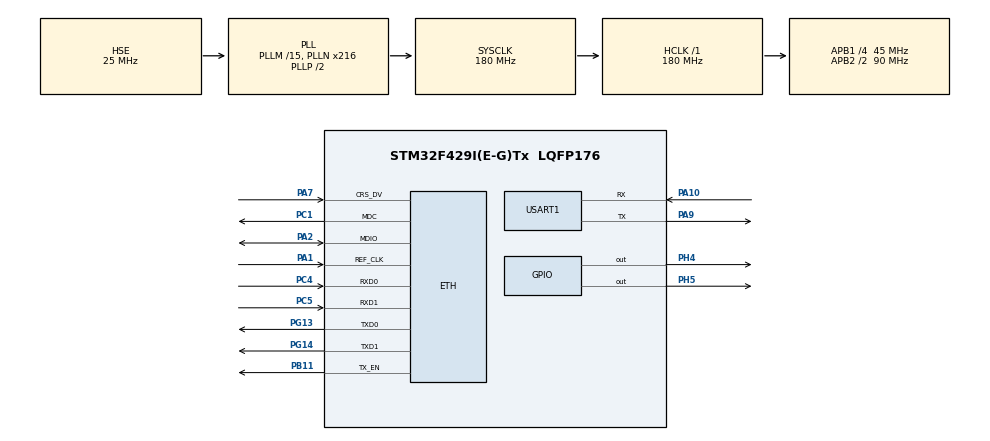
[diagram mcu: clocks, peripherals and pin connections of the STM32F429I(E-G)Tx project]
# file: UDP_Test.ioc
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ETH.MediaInterface=HAL_ETH_RMII_MODE
LWIP.BSP.number=1
LWIP.GATEWAY_ADDRESS=192.168.137.001
LWIP.IP_ADDRESS=192.168.137.100
LWIP.LWIP_DHCP=0
LWIP.LWIP_UDP=1
LWIP.NETMASK_ADDRESS=255.255.255.000
LWIP.Version=v2.1.2_Cube
LWIP0.BSP.STBoard=false
LWIP0.BSP.api=BSP_COMPONENT_DRIVER
LWIP0.BSP.component=LAN8742
LWIP0.BSP.instance=LAN8742
LWIP0.BSP.name=Driver_PHY
LWIP0.BSP.semaphore=S_LAN8742
LWIP0.BSP.solution=LAN8742
Mcu.Family=STM32F4
Mcu.Name=STM32F429I(E-G)Tx
Mcu.Package=LQFP176
NVIC.PriorityGroup=NVIC_PRIORITYGROUP_4
PA1.Mode=RMII
PA1.Signal=ETH_REF_CLK
PA10.Mode=Asynchronous
PA10.Signal=USART1_RX
PA13.Mode=Serial_Wire
PA13.Signal=SYS_JTMS-SWDIO
PA14.Mode=Serial_Wire
PA14.Signal=SYS_JTCK-SWCLK
PA2.Mode=RMII
PA2.Signal=ETH_MDIO
PA7.Mode=RMII
PA7.Signal=ETH_CRS_DV
PA9.Mode=Asynchronous
PA9.Signal=USART1_TX
PB11.Mode=RMII
PB11.Signal=ETH_TX_EN
PC1.Mode=RMII
PC1.Signal=ETH_MDC
PC4.Mode=RMII
PC4.Signal=ETH_RXD0
PC5.Mode=RMII
PC5.Signal=ETH_RXD1
PG13.Mode=RMII
PG13.Signal=ETH_TXD0
PG14.Mode=RMII
PG14.Signal=ETH_TXD1
PH0/OSC_IN.Mode=HSE-External-Oscillator
PH0/OSC_IN.Signal=RCC_OSC_IN
PH1/OSC_OUT.Mode=HSE-External-Oscillator
PH1/OSC_OUT.Signal=RCC_OSC_OUT
PH4.GPIO_ModeDefaultOutputPP=GPIO_MODE_OUTPUT_OD
PH4.GPIO_PuPd=GPIO_NOPULL
PH4.Signal=GPIO_Output
PH5.GPIO_ModeDefaultOutputPP=GPIO_MODE_OUTPUT_OD
PH5.GPIO_PuPd=GPIO_NOPULL
PH5.Signal=GPIO_Output
ProjectManager.HeapSize=0x200
ProjectManager.StackSize=0x2000
ProjectManager.TargetToolchain=Makefile
RCC.48MHZClocksFreq_Value=90000000
RCC.AHBFreq_Value=180000000
RCC.APB1CLKDivider=RCC_HCLK_DIV4
RCC.APB1Freq_Value=45000000
RCC.APB1TimFreq_Value=90000000
RCC.APB2CLKDivider=RCC_HCLK_DIV2
RCC.APB2Freq_Value=90000000
RCC.APB2TimFreq_Value=180000000
RCC.CortexFreq_Value=180000000
RCC.HCLKFreq_Value=180000000
RCC.HSE_VALUE=25000000
RCC.HSI_VALUE=16000000
RCC.LSE_VALUE=32768
RCC.PLLM=15
RCC.PLLN=216
RCC.PLLSourceVirtual=RCC_PLLSOURCE_HSE
RCC.SYSCLKFreq_VALUE=180000000
RCC.SYSCLKSource=RCC_SYSCLKSOURCE_PLLCLK
RCC.VCOOutputFreq_Value=360000000
USART1.VirtualMode=VM_ASYNC
VP_LWIP_VS_Enabled.Mode=Enabled
board=custom

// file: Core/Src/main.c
/* USER CODE BEGIN Header */
/**
 ******************************************************************************
 * @file           : main.c
 * @brief          : Main program body
 ******************************************************************************
 * @attention
 *
 * Copyright (c) 2025 STMicroelectronics.
 * All rights reserved.
 *
 * This software is licensed under terms that can be found in the LICENSE file
 * in the root directory of this software component.
 * If no LICENSE file comes with this software, it is provided AS-IS.
 *
 ******************************************************************************
 */
/* USER CODE END Header */
#include "main.h"
#include "lwip.h"
#include "usart.h"
#include "gpio.h"

/* USER CODE BEGIN Includes */
#include "pcf8574.h"
#include "lwip/udp.h"
#include "string.h"
#include "user_printf.h"
/* USER CODE END Includes */

/* USER CODE BEGIN PD */
#define UDP_ECHO_PORT 1000
/* USER CODE END PD */

void SystemClock_Config(void);

/* USER CODE BEGIN 0 */
void UDP_Echo_Init(void);

static void udp_demo_callback(void *arg, struct udp_pcb *upcb, struct pbuf *p, const ip_addr_t *addr, u16_t port)
{
    struct pbuf *q    = NULL;
    const char *reply = "This is reply!\n";
    if (arg) {
        printf("%s", (char *)arg);
    }
    pbuf_free(p);
    q = pbuf_alloc(PBUF_TRANSPORT, strlen(reply) + 1, PBUF_RAM);
    if (!q) {
        printf("out of PBUF_RAM\n");
        return;
    }
    memset(q->payload, 0, q->len);
    memcpy(q->payload, reply, strlen(reply));
    udp_sendto(upcb, q, addr, port);
    pbuf_free(q);
}

static char *st_buffer = "We get a data\n";
void UDP_Echo_Init(void)
{
    struct udp_pcb *udpecho_pcb;
    udpecho_pcb = udp_new();                                     // 新建控制块
    udp_bind(udpecho_pcb, IP_ADDR_ANY, UDP_ECHO_PORT);           // 绑定端口号
    udp_recv(udpecho_pcb, udp_demo_callback, (void *)st_buffer); // 接收数据回调函数
}

/* USER CODE END 0 */

int main(void)
{

    /* MCU Configuration--------------------------------------------------------*/

    /* Reset of all peripherals, Initializes the Flash interface and the Systick. */
    HAL_Init();

    /* Configure the system clock */
    SystemClock_Config();

    /* Initialize all configured peripherals */
    MX_GPIO_Init();
    MX_USART1_UART_Init();
    PCF8574_Init();
    PCF8574_Write_Bit(7, 1);
    HAL_Delay(100);
    PCF8574_Write_Bit(7, 0);
    HAL_Delay(100);
    MX_LWIP_Init();
    /* USER CODE BEGIN 2 */
    RetargetInit(&huart1);
    UDP_Echo_Init();
    /* USER CODE END 2 */

    /* Infinite loop */
    while (1) {

        /* USER CODE BEGIN 3 */
        MX_LWIP_Process();
    }
    /* USER CODE END 3 */
}

void SystemClock_Config(void)
{
    RCC_OscInitTypeDef RCC_OscInitStruct = {0};
    RCC_ClkInitTypeDef RCC_ClkInitStruct = {0};

    /** Configure the main internal regulator output voltage
     */
    __HAL_RCC_PWR_CLK_ENABLE();
    __HAL_PWR_VOLTAGESCALING_CONFIG(PWR_REGULATOR_VOLTAGE_SCALE1);

    /** Initializes the RCC Oscillators according to the specified parameters
     * in the RCC_OscInitTypeDef structure.
     */
    RCC_OscInitStruct.OscillatorType = RCC_OSCILLATORTYPE_HSE;
    RCC_OscInitStruct.HSEState       = RCC_HSE_ON;
    RCC_OscInitStruct.PLL.PLLState   = RCC_PLL_ON;
    RCC_OscInitStruct.PLL.PLLSource  = RCC_PLLSOURCE_HSE;
    RCC_OscInitStruct.PLL.PLLM       = 15;
    RCC_OscInitStruct.PLL.PLLN       = 216;
    RCC_OscInitStruct.PLL.PLLP       = RCC_PLLP_DIV2;
    RCC_OscInitStruct.PLL.PLLQ       = 4;
    if (HAL_RCC_OscConfig(&RCC_OscInitStruct) != HAL_OK) {
        Error_Handler();
    }

    /** Activate the Over-Drive mode
     */
    if (HAL_PWREx_EnableOverDrive() != HAL_OK) {
        Error_Handler();
    }

    /** Initializes the CPU, AHB and APB buses clocks
     */
    RCC_ClkInitStruct.ClockType      = RCC_CLOCKTYPE_HCLK | RCC_CLOCKTYPE_SYSCLK | RCC_CLOCKTYPE_PCLK1 | RCC_CLOCKTYPE_PCLK2;
    RCC_ClkInitStruct.SYSCLKSource   = RCC_SYSCLKSOURCE_PLLCLK;
    RCC_ClkInitStruct.AHBCLKDivider  = RCC_SYSCLK_DIV1;
    RCC_ClkInitStruct.APB1CLKDivider = RCC_HCLK_DIV4;
    RCC_ClkInitStruct.APB2CLKDivider = RCC_HCLK_DIV2;

    if (HAL_RCC_ClockConfig(&RCC_ClkInitStruct, FLASH_LATENCY_5) != HAL_OK) {
        Error_Handler();
    }
}

void Error_Handler(void)
{
    __disable_irq();
    while (1) {
    }
}
